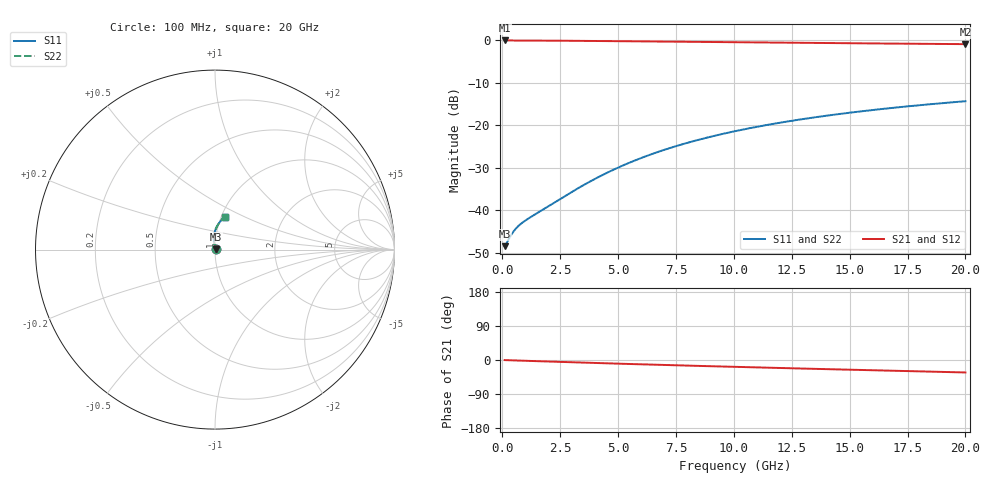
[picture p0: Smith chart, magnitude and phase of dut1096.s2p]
! Touchstone file exported from HFSS 2024.1.0
!  File:  C:/UserFiles/LocalFiles/RDL_TSV_Batchsim/temp_RDL_bottom_1096_1780053776.aedt
!  Generated:  07:24:49 PM May 29, 2026
!  Design:  RDL_bottom
!  Project:  temp_RDL_bottom_1096_1780053776
!  Setup:  Setup1
!  Solution:  Sweep
! Variables:
!  dtsv = 10.80580581um
!  hbump = 3um
!  htsv = 72.02um
!  ldown = 547.7um
!  lrdl = 100um
!  p = 40
!  p1 = 40.16um
!  rhole = 1um
!  t = 450um
!  tdown = 2.02um
!  trdl = 3.915915916um
!  wdown = 29.92um
!  wrdl = 20um
# GHz S MA R 50.000000
! Terminal data exported
! Port[1] = RDL1_T1
! Port[2] = RDL1_T2
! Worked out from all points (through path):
!   200 points, 100 MHz to 20 GHz, reference 50 ohm
!   highest |S21| = -0.03 dB at 100 MHz (marker M1); lowest = -0.9 dB at 20 GHz (marker M2)
!   group delay of S21, straight-line fit = 4.49 ps
!   lowest |S11| = -48.5 dB at 100 MHz (marker M3), VSWR 1.01, Z = 50.4 + j0.0859 ohm
!   |S11| at or under -10 dB: start of sweep to end of sweep
!   |S22| runs from -48.5 to -14.3 dB; largest |S21 - S12| = 3.4e-15
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0.1  0.003766 13.1  0.9963 -0.2  0.9963 -0.2  0.003766 13.1
! Gamma 0 0 0 0
! Port Impedance 50 0 50 0
0.4  0.005199 35.0  0.9955 -0.9  0.9955 -0.9  0.005199 35.0
0.5  0.005688 38.3  0.9952 -1.1  0.9952 -1.1  0.005687 38.3
0.6  0.006129 41.0  0.9949 -1.3  0.9949 -1.3  0.006129 41.0
0.8  0.006893 45.5  0.9943 -1.7  0.9943 -1.7  0.006892 45.5
1  0.007564 49.8  0.9938 -2.1  0.9938 -2.1  0.007563 49.8
1.3  0.008536 56.3  0.993 -2.7  0.993 -2.7  0.008535 56.3
2.8  0.0152 82.0  0.9881 -5.6  0.9881 -5.6  0.0152 82.0
3.5  0.01966 88.9  0.985 -6.9  0.985 -6.9  0.01966 88.9
4.3  0.02571 93.8  0.9811 -8.4  0.9811 -8.4  0.02572 93.8
5.1  0.0326 96.4  0.9768 -9.8  0.9768 -9.8  0.03261 96.4
5.9  0.04017 97.5  0.9723 -11.3  0.9723 -11.3  0.04018 97.5
6.8  0.04929 97.6  0.9671 -12.8  0.9671 -12.8  0.04931 97.6
7.6  0.05781 97.0  0.9624 -14.1  0.9624 -14.1  0.05783 97.0
8.4  0.06658 96.0  0.9579 -15.5  0.9579 -15.5  0.0666 96.0
9.2  0.07552 94.7  0.9533 -16.7  0.9533 -16.7  0.07555 94.7
10.1  0.08569 93.1  0.9484 -18.2  0.9484 -18.2  0.08572 93.1
11.7  0.1038 89.9  0.9399 -20.7  0.9399 -20.7  0.1039 89.9
13.4  0.1229 86.4  0.9314 -23.2  0.9314 -23.2  0.123 86.4
15  0.1405 83.0  0.9237 -25.6  0.9237 -25.6  0.1405 83.0
16.7  0.1586 79.6  0.916 -28.1  0.916 -28.1  0.1586 79.6
20  0.1918 73.1  0.9016 -32.9  0.9016 -32.9  0.1919 73.2
